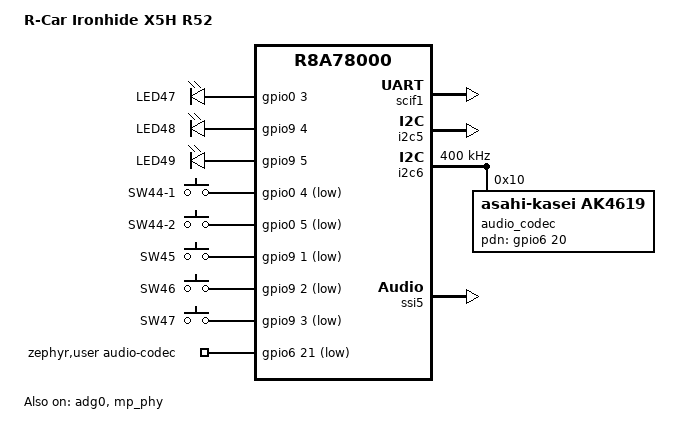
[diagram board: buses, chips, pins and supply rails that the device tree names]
/*
 * Copyright (c) 2026 Renesas Electronics Corporation
 *
 * SPDX-License-Identifier: Apache-2.0
 */

/dts-v1/;
#include <arm/renesas/rcar/gen5/r8a78000.dtsi>
#include <zephyr/dt-bindings/gpio/gpio.h>
#include <zephyr/dt-bindings/input/input-event-codes.h>
#include "rcar_ironhide_x5h_r8a78000_r52-pinctrl.dtsi"
#include <zephyr/dt-bindings/ethernet/phy/ti_dp83869.h>
#include <freq.h>

/ {
	model = "R-Car Ironhide X5H R52";
	compatible = "renesas,ironhide-x5h-cr52";

	chosen {
		zephyr,sram = &sram0;
		zephyr,console = &scif1;
		zephyr,shell-uart = &scif1;
	};

	leds {
		compatible = "gpio-leds";

		led1: led1 {
			gpios = <&gpio0 3 GPIO_ACTIVE_HIGH>;
			label = "LED47";
		};

		led2: led2 {
			gpios = <&gpio9 4 GPIO_ACTIVE_HIGH>;
			label = "LED48";
		};

		led3: led3 {
			gpios = <&gpio9 5 GPIO_ACTIVE_HIGH>;
			label = "LED49";
		};
	};

	gpio_keys {
		compatible = "gpio-keys";

		slide_sw1: sw0 {
			label = "SW44-1";
			gpios = <&gpio0 4 GPIO_ACTIVE_LOW>;
			zephyr,code = <INPUT_KEY_0>;
		};

		slide_sw2: sw1 {
			label = "SW44-2";
			gpios = <&gpio0 5 GPIO_ACTIVE_LOW>;
			zephyr,code = <INPUT_KEY_1>;
		};

		button1: sw2 {
			label = "SW45";
			gpios = <&gpio9 1 GPIO_ACTIVE_LOW>;
			zephyr,code = <INPUT_KEY_2>;
		};

		button2: sw3 {
			label = "SW46";
			gpios = <&gpio9 2 GPIO_ACTIVE_LOW>;
			zephyr,code = <INPUT_KEY_3>;
		};

		button3: sw4 {
			label = "SW47";
			gpios = <&gpio9 3 GPIO_ACTIVE_LOW>;
			zephyr,code = <INPUT_KEY_4>;
		};
	};

	aliases {
		led0 = &led1;
		led1 = &led2;
		sw0 = &button1;
	};

	zephyr,user {
		audio-codec-gpios = <&gpio6 21 GPIO_ACTIVE_LOW>;
		audio-codec-dir = "out";
	};
};

&mdio4 {
	pinctrl-0 = <&rsw3_etha4_mdc_default &rsw3_etha4_mdio_default>;
	pinctrl-names = "default";
	status = "disabled";

	phy2: ethernet-phy@2 {
		compatible = "ti,dp83869";
		reg = <2>;
		ti,op-mode = <DP83869_OP_MODE_SGMII_COPPER_ETHERNET>;
		status = "disabled";
	};
};

&gpio0 {
	status = "okay";
};

&gpio6 {
	status = "okay";
};

&gpio9 {
	status = "okay";
};

&scif1 {
	pinctrl-0 = <&scif1_data_tx_default &scif1_data_rx_default>;
	pinctrl-names = "default";
	status = "okay";
};

&i2c5 {
	pinctrl-0 = <&i2c5_sda_default &i2c5_scl_default>;
	pinctrl-names = "default";
	status = "okay";
};

&i2c6 {
	pinctrl-0 = <&i2c6_sda_default &i2c6_scl_default>;
	pinctrl-names = "default";
	clock-frequency = <I2C_BITRATE_FAST>;
	status = "okay";

	audio_codec: ak4619@10 {
		compatible = "asahi-kasei,ak4619";
		reg = <0x10>;
		status = "okay";
		pdn-gpios = <&gpio6 20 GPIO_ACTIVE_HIGH>;
		adc1-l-input-mode = "pseudo-differential";
		adc1-r-input-mode = "pseudo-differential";
		mclk = <&adg0 ADG_CLKOUT(0)>;
	};
};

&audio_clk_a {
	clock-frequency = <DT_FREQ_K(24576)>;
};

&adg0 {
	audio-clkout-sel = <ADG_CLKSRC(BRGB) ADG_CLKSRC(NONE)
			    ADG_CLKSRC(NONE) ADG_CLKSRC(NONE)>;
	brga-clk-sel = <ADG_BRGSRC(CLKA)>;
	brgb-clk-sel = <ADG_BRGSRC(CLKA)>;
	status = "okay";
};

&adg1 {
	audio-clkout-sel = <ADG_CLKSRC(BRGB) ADG_CLKSRC(NONE)
			    ADG_CLKSRC(NONE) ADG_CLKSRC(NONE)>;
	brga-clk-sel = <ADG_BRGSRC(CLKA)>;
	brgb-clk-sel = <ADG_BRGSRC(CLKA)>;
};

&audio_dmac0 {
	status = "okay";
};

&ssi5 {
	pinctrl-0 = <&audio_clka_default &audio0_clkout0_default
		     &ssi5_sck_default &ssi5_ws_default &ssi5_sd_default>;
	pinctrl-names = "default";
	clocks = <&clkc CLKC_MOD R8A78000_MOD_SSI05>,
		 <&clkc CLKC_MOD R8A78000_MOD_SSI0>,
		 <&adg0 ADG_CLKSRC(BRGA)>;
	clock-names = "ssi", "ssi-domain", "audio-clk";
	status = "okay";
};

&mp_phy {
	status = "okay";

	interface-names = "pci0", "pci1", "ethernet", "usb";
	ref-use-pad = <0x0f>;
	ref-repeat-clk-en = <0x00>;
};

&tsnes4 {
	pinctrl-0 = <&tsnes4_match_default
		     &tsnes4_pps_default
		     &tsnes4_capture_default>;
	pinctrl-names = "default";
	local-mac-address = [74 90 50 48 df 57];
	status = "disabled";
};
